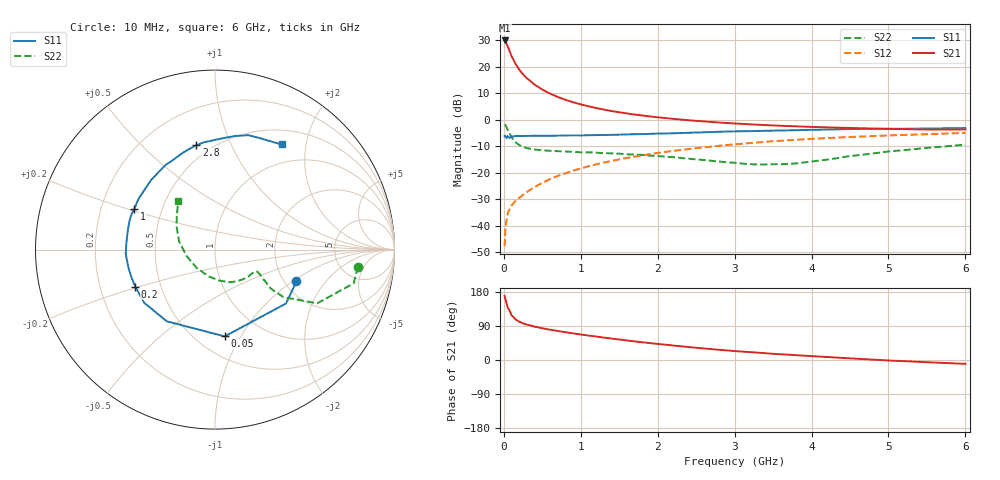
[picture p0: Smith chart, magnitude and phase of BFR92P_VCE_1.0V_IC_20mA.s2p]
! Infineon Technologies  Discrete & RF Semiconductors
! BFR92P
! VCE =  1.0 V,  IC =  20 mA
! Common Emitter S-Parameters:  Apr 2014
# GHz  S  MA  R  50
!  f  S11  S21  S12  S22
! GHz  MAG  ANG  MAG  ANG  MAG  ANG  MAG  ANG
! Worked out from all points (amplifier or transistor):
!   77 points, 10 MHz to 6 GHz, reference 50 ohm
!   highest |S21| = 29.9 dB at 10 MHz (marker M1)
!   |S21| within 3 dB of that: start of sweep to 61.13 MHz
!   unconditionally stable (mu >= 1): start of sweep to 11 MHz; 158.4 MHz to end of sweep
!   at 130 MHz: K = 0.90, MSG = 26.8 dB, |S12| = -31.4 dB
!   at 2.2 GHz: K = 1.32, MAG = 2.7 dB, |S12| = -11.8 dB
!   at 6 GHz: K = 1.04, MAG = -0.6 dB, |S12| = -5.0 dB
!   S11 on the Smith chart (normalised r, x): 10 MHz: 2.32, -1.07; 50 MHz: 0.68, -0.86; 200 MHz: 0.36, -0.19; 1 GHz: 0.35, +0.21; 2.8 GHz: 0.42, +0.75; 6 GHz: 0.70, +1.59
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0.01  0.487 -21.2  31.13 168.8  0.0041 78.7  0.8022 -6.9
0.02  0.4968 -37.2  30.45 160.5  0.0085 75.3  0.7952 -13.7
0.05  0.4863 -83.6  24.1 138.2  0.0171 62.1  0.6433 -27.7
0.1  0.4815 -123.9  15.71 117.7  0.0239 54.8  0.4632 -34.8
0.15  0.4933 -143.1  11.4 107.5  0.0291 54.5  0.3768 -34.9
0.2  0.4898 -155.1  8.767 101.2  0.0334 56.5  0.3305 -32.2
0.25  0.4908 -162.6  7.135 96.8  0.0381 58.7  0.307 -31.2
0.3  0.4927 -168.3  5.997 93.3  0.0429 60.9  0.2897 -29.2
0.4  0.4981 -177.2  4.556 88.0  0.0535 64.3  0.2726 -27.9
0.5  0.4952 176.4  3.683 83.7  0.064 66.6  0.2644 -27.5
0.6  0.4954 170.8  3.094 80.0  0.0755 67.4  0.2578 -28.0
0.7  0.4984 165.9  2.679 76.6  0.0865 68.0  0.2541 -29.0
0.8  0.5026 161.3  2.37 73.4  0.0972 67.8  0.25 -30.7
1  0.5034 153.4  1.937 67.3  0.1197 67.3  0.2421 -34.5
1.1  0.5072 149.7  1.785 64.5  0.1317 66.6  0.2417 -36.8
1.5  0.5201 135.8  1.375 54.0  0.178 63.2  0.2276 -46.7
2.1  0.5482 117.5  1.069 40.4  0.2456 56.3  0.2004 -64.4
2.8  0.5905 100.2  0.881 26.9  0.3213 47.5  0.1618 -91.4
3.1  0.603 94.1  0.831 22.2  0.3511 43.1  0.148 -109.2
4.1  0.6452 79.0  0.722 9.1  0.441 29.3  0.1683 -173.8
5.1  0.671 66.8  0.666 -2.2  0.5079 16.1  0.2578 146.0
6  0.6936 57.6  0.652 -10.1  0.5614 4.6  0.337 127.2
